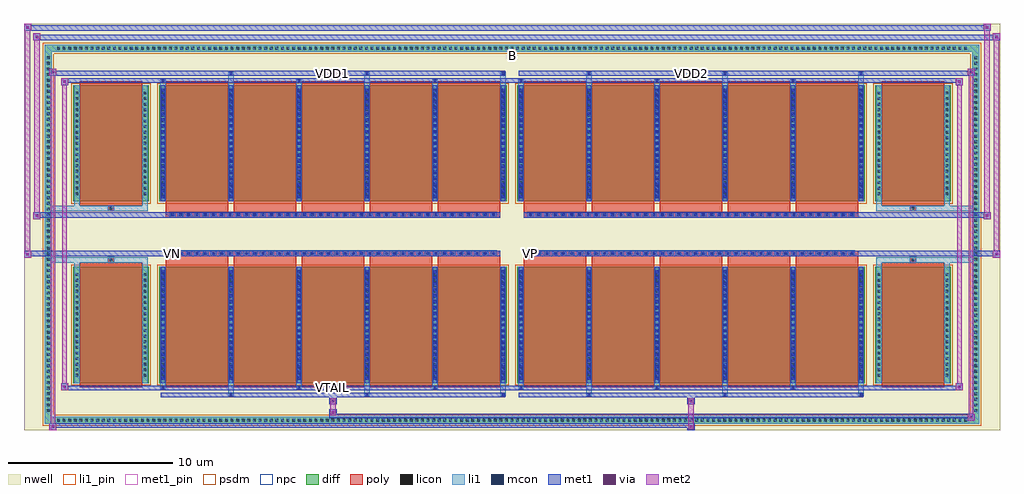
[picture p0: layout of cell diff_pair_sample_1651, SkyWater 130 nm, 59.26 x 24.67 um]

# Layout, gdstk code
import gdstk
lib = gdstk.Library(unit=1e-6, precision=5e-09)
def R(c, l, rs):  # rectangles x0, y0, x1, y1
    for r in rs: c.add(gdstk.rectangle(r[:2], r[2:], *l))
def A(c, l, x, y, w, h, nx, ny, dx, dy):  # array of equal rectangles
    R(c, l, [(x+i*dx, y+j*dy, x+i*dx+w, y+j*dy+h) for i in range(nx) for j in range(ny)])
def P(c, l, *ps):  # polygons
    for p in ps: c.add(gdstk.Polygon(p, *l))
nwell = (64, 20)
diff = (65, 20)
poly = (66, 20)
licon = (66, 44)
li1_pin = (67, 16)
li1 = (67, 20)
mcon = (67, 44)
met1_pin = (68, 16)
met1 = (68, 20)
via = (68, 44)
met2 = (69, 20)
psdm = (94, 20)
npc = (95, 20)

diff_pair_sample_1651 = lib.new_cell('diff_pair_sample_1651')
R(diff_pair_sample_1651, nwell, [(-29.63,-11.9,29.63,12.77), (-26.95,-10.09,-0.01,-0.805), (0.01,-10.09,26.95,-0.805), (-26.95,0.805,-0.01,10.09), (0.01,0.805,26.95,10.09)])
A(diff_pair_sample_1651, diff, -27.745, -11.5, 0.41, 0.41, 163, 2, 0.34, 22.59)
A(diff_pair_sample_1651, diff, -28.36, -10.915, 0.41, 0.41, 1, 64, 0, 0.34)
A(diff_pair_sample_1651, diff, 27.95, -10.915, 0.41, 0.41, 1, 64, 0, 0.34)
R(diff_pair_sample_1651, diff, [(-27.745,-11.5,27.745,-11.09), (-28.36,-10.915,-27.95,10.915), (27.95,-10.915,28.36,10.915), (-26.64,-9.045,-22.06,-1.985), (-21.42,-9.045,-0.32,-1.985), (0.32,-9.045,21.42,-1.985), (22.06,-9.045,26.64,-1.985), (-26.64,1.985,-22.06,9.045), (-21.42,1.985,-0.32,9.045), (0.32,1.985,21.42,9.045), (22.06,1.985,26.64,9.045), (-27.745,11.09,27.745,11.5)])
P(diff_pair_sample_1651, diff, [(28.36,11.5),(-28.36,11.5),(-28.36,-11.09),(-27.95,-11.09),(-27.95,11.09),(27.95,11.09),(27.95,-11.09),(-27.95,-11.09),(-28.36,-11.09),(-28.36,-11.5),(28.36,-11.5)])
A(diff_pair_sample_1651, poly, -21.03, -9.295, 3.8, 7.56, 5, 2, 4.13, 11.03)
A(diff_pair_sample_1651, poly, 0.71, -9.295, 3.8, 7.56, 5, 2, 4.13, 11.03)
A(diff_pair_sample_1651, poly, -21.03, -1.735, 3.8, 0.4, 5, 2, 4.13, 3.07)
A(diff_pair_sample_1651, poly, 0.71, -1.735, 3.8, 0.4, 5, 2, 4.13, 3.07)
A(diff_pair_sample_1651, poly, -20.785, -1.335, 0.33, 0.33, 40, 2, 0.5, 2.34)
A(diff_pair_sample_1651, poly, 0.955, -1.335, 0.33, 0.33, 40, 2, 0.5, 2.34)
R(diff_pair_sample_1651, poly, [(-26.25,-9.295,-22.45,-1.735), (22.45,-9.295,26.25,-1.735), (-24.515,-1.735,-24.185,-1.405), (-24.515,-1.735,-24.185,-1.405), (24.185,-1.735,24.515,-1.405), (24.185,-1.735,24.515,-1.405), (-21.03,-1.335,-0.71,-1.005), (0.71,-1.335,21.03,-1.005), (-21.03,1.005,-0.71,1.335), (0.71,1.005,21.03,1.335), (-24.515,1.405,-24.185,1.735), (-24.515,1.405,-24.185,1.735), (24.185,1.405,24.515,1.735), (24.185,1.405,24.515,1.735), (-26.25,1.735,-22.45,9.295), (22.45,1.735,26.25,9.295)])
A(diff_pair_sample_1651, licon, -27.625, -11.38, 0.17, 0.17, 163, 2, 0.34, 22.59)
A(diff_pair_sample_1651, licon, -28.24, -10.795, 0.17, 0.17, 1, 64, 0, 0.34)
A(diff_pair_sample_1651, licon, 28.07, -10.795, 0.17, 0.17, 1, 64, 0, 0.34)
A(diff_pair_sample_1651, licon, -26.5, -8.66, 0.17, 0.17, 1, 19, 0, 0.34)
A(diff_pair_sample_1651, licon, -22.37, -8.66, 0.17, 0.17, 1, 19, 0, 0.34)
A(diff_pair_sample_1651, licon, -21.28, -8.66, 0.17, 0.17, 6, 19, 4.13, 0.34)
A(diff_pair_sample_1651, licon, 0.46, -8.66, 0.17, 0.17, 6, 19, 4.13, 0.34)
A(diff_pair_sample_1651, licon, 22.2, -8.66, 0.17, 0.17, 1, 19, 0, 0.34)
A(diff_pair_sample_1651, licon, 26.33, -8.66, 0.17, 0.17, 1, 19, 0, 0.34)
A(diff_pair_sample_1651, licon, -20.705, -1.255, 0.17, 0.17, 40, 2, 0.5, 2.34)
A(diff_pair_sample_1651, licon, 1.035, -1.255, 0.17, 0.17, 40, 2, 0.5, 2.34)
A(diff_pair_sample_1651, licon, -26.5, 2.37, 0.17, 0.17, 1, 19, 0, 0.34)
A(diff_pair_sample_1651, licon, -22.37, 2.37, 0.17, 0.17, 1, 19, 0, 0.34)
A(diff_pair_sample_1651, licon, -21.28, 2.37, 0.17, 0.17, 6, 19, 4.13, 0.34)
A(diff_pair_sample_1651, licon, 0.46, 2.37, 0.17, 0.17, 6, 19, 4.13, 0.34)
A(diff_pair_sample_1651, licon, 22.2, 2.37, 0.17, 0.17, 1, 19, 0, 0.34)
A(diff_pair_sample_1651, licon, 26.33, 2.37, 0.17, 0.17, 1, 19, 0, 0.34)
R(diff_pair_sample_1651, licon, [(-24.435,-1.655,-24.265,-1.485), (24.265,-1.655,24.435,-1.485), (-24.435,1.485,-24.265,1.655), (24.265,1.485,24.435,1.655)])
R(diff_pair_sample_1651, li1_pin, [(-0.25,10.59,0.25,11.09)])
A(diff_pair_sample_1651, li1, -27.705, -11.46, 0.33, 0.33, 163, 2, 0.34, 22.59)
A(diff_pair_sample_1651, li1, -28.32, -10.875, 0.33, 0.33, 1, 64, 0, 0.34)
A(diff_pair_sample_1651, li1, 27.99, -10.875, 0.33, 0.33, 1, 64, 0, 0.34)
A(diff_pair_sample_1651, li1, -17.23, -9.85, 0.33, 0.805, 3, 2, 8.26, 18.895)
A(diff_pair_sample_1651, li1, -17.15, -9.85, 0.17, 0.17, 3, 2, 8.26, 19.53)
A(diff_pair_sample_1651, li1, 4.51, -9.85, 0.33, 0.805, 3, 2, 8.26, 18.895)
A(diff_pair_sample_1651, li1, 4.59, -9.85, 0.17, 0.17, 3, 2, 8.26, 19.53)
A(diff_pair_sample_1651, li1, -21.36, -9.42, 0.33, 0.375, 3, 2, 8.26, 18.465)
A(diff_pair_sample_1651, li1, -21.28, -9.42, 0.17, 0.17, 3, 2, 8.26, 18.67)
A(diff_pair_sample_1651, li1, 0.38, -9.42, 0.33, 0.375, 3, 2, 8.26, 18.465)
A(diff_pair_sample_1651, li1, 0.46, -9.42, 0.17, 0.17, 3, 2, 8.26, 18.67)
A(diff_pair_sample_1651, li1, -21.36, -9.045, 0.33, 7.06, 6, 2, 4.13, 11.03)
A(diff_pair_sample_1651, li1, 0.38, -9.045, 0.33, 7.06, 6, 2, 4.13, 11.03)
A(diff_pair_sample_1651, li1, -21.28, -8.84, 0.17, 0.17, 6, 19, 4.13, 0.36)
A(diff_pair_sample_1651, li1, -21.28, -8.84, 0.17, 6.65, 6, 2, 4.13, 11.03)
A(diff_pair_sample_1651, li1, 0.46, -8.84, 0.17, 0.17, 6, 19, 4.13, 0.36)
A(diff_pair_sample_1651, li1, 0.46, -8.84, 0.17, 6.65, 6, 2, 4.13, 11.03)
A(diff_pair_sample_1651, li1, -26.58, -8.74, 0.33, 0.33, 1, 19, 0, 0.34)
A(diff_pair_sample_1651, li1, -22.45, -8.74, 0.33, 0.33, 1, 19, 0, 0.34)
A(diff_pair_sample_1651, li1, -21.36, -8.74, 0.33, 0.33, 6, 19, 4.13, 0.34)
A(diff_pair_sample_1651, li1, 0.38, -8.74, 0.33, 0.33, 6, 19, 4.13, 0.34)
A(diff_pair_sample_1651, li1, 22.12, -8.74, 0.33, 0.33, 1, 19, 0, 0.34)
A(diff_pair_sample_1651, li1, 26.25, -8.74, 0.33, 0.33, 1, 19, 0, 0.34)
A(diff_pair_sample_1651, li1, -20.785, -1.335, 0.33, 0.33, 40, 2, 0.5, 2.34)
A(diff_pair_sample_1651, li1, 0.955, -1.335, 0.33, 0.33, 40, 2, 0.5, 2.34)
A(diff_pair_sample_1651, li1, -21.28, 2.19, 0.17, 0.17, 6, 19, 4.13, 0.36)
A(diff_pair_sample_1651, li1, 0.46, 2.19, 0.17, 0.17, 6, 19, 4.13, 0.36)
A(diff_pair_sample_1651, li1, -26.58, 2.29, 0.33, 0.33, 1, 19, 0, 0.34)
A(diff_pair_sample_1651, li1, -22.45, 2.29, 0.33, 0.33, 1, 19, 0, 0.34)
A(diff_pair_sample_1651, li1, -21.36, 2.29, 0.33, 0.33, 6, 19, 4.13, 0.34)
A(diff_pair_sample_1651, li1, 0.38, 2.29, 0.33, 0.33, 6, 19, 4.13, 0.34)
A(diff_pair_sample_1651, li1, 22.12, 2.29, 0.33, 0.33, 1, 19, 0, 0.34)
A(diff_pair_sample_1651, li1, 26.25, 2.29, 0.33, 0.33, 1, 19, 0, 0.34)
R(diff_pair_sample_1651, li1, [(-28.36,-11.5,-27.95,-11.09), (-28.36,-11.5,-27.95,-11.09), (-27.95,-11.5,27.95,-11.09), (27.95,-11.5,28.36,-11.09), (27.95,-11.5,28.36,-11.09), (-28.36,-11.09,-27.95,11.09), (27.95,-11.09,28.36,11.09), (-26.58,-9.045,-26.25,-1.985), (-22.45,-9.045,-22.12,-1.985), (22.12,-9.045,22.45,-1.985), (26.25,-9.045,26.58,-1.985), (-26.58,-1.985,-26.25,-1.405), (-22.45,-1.985,-22.12,-1.405), (22.12,-1.985,22.45,-1.405), (26.25,-1.985,26.58,-1.405), (-28.36,-1.735,-24.515,-1.405), (-26.58,-1.735,-24.515,-1.405), (-24.515,-1.735,-24.185,-1.405), (-24.185,-1.735,-22.12,-1.405), (22.12,-1.735,24.185,-1.405), (24.185,-1.735,24.515,-1.405), (24.185,-1.735,28.36,-1.405), (24.515,-1.735,26.58,-1.405), (-28.36,1.405,-24.515,1.735), (-26.58,1.405,-24.515,1.735), (-26.58,1.405,-26.25,1.985), (-24.515,1.405,-24.185,1.735), (-24.185,1.405,-22.12,1.735), (-22.45,1.405,-22.12,1.985), (22.12,1.405,24.185,1.735), (22.12,1.405,22.45,1.985), (24.185,1.405,24.515,1.735), (24.185,1.405,28.36,1.735), (24.515,1.405,26.58,1.735), (26.25,1.405,26.58,1.985), (-26.58,1.985,-26.25,9.045), (-22.45,1.985,-22.12,9.045), (22.12,1.985,22.45,9.045), (26.25,1.985,26.58,9.045), (-28.36,11.09,-27.95,11.5), (-28.36,11.09,-27.95,11.5), (-27.95,11.09,27.95,11.5), (27.95,11.09,28.36,11.5), (27.95,11.09,28.36,11.5)])
A(diff_pair_sample_1651, mcon, -17.15, -9.85, 0.17, 0.17, 3, 2, 8.26, 19.53)
A(diff_pair_sample_1651, mcon, 4.59, -9.85, 0.17, 0.17, 3, 2, 8.26, 19.53)
A(diff_pair_sample_1651, mcon, -21.28, -9.42, 0.17, 0.17, 3, 2, 8.26, 18.67)
A(diff_pair_sample_1651, mcon, 0.46, -9.42, 0.17, 0.17, 3, 2, 8.26, 18.67)
A(diff_pair_sample_1651, mcon, -21.28, -8.84, 0.17, 0.17, 6, 19, 4.13, 0.36)
A(diff_pair_sample_1651, mcon, 0.46, -8.84, 0.17, 0.17, 6, 19, 4.13, 0.36)
A(diff_pair_sample_1651, mcon, -20.705, -1.255, 0.17, 0.17, 40, 2, 0.5, 2.34)
A(diff_pair_sample_1651, mcon, 1.035, -1.255, 0.17, 0.17, 40, 2, 0.5, 2.34)
A(diff_pair_sample_1651, mcon, -21.28, 2.19, 0.17, 0.17, 6, 19, 4.13, 0.36)
A(diff_pair_sample_1651, mcon, 0.46, 2.19, 0.17, 0.17, 6, 19, 4.13, 0.36)
R(diff_pair_sample_1651, met1_pin, [(-11.005,-9.46,-10.735,-9.19), (-20.755,-1.295,-20.485,-1.025), (0.985,-1.295,1.255,-1.025), (-11.005,9.64,-10.735,9.91), (10.735,9.64,11.005,9.91)])
A(diff_pair_sample_1651, met1, -17.21, -9.91, 0.29, 0.29, 3, 2, 8.26, 19.53)
A(diff_pair_sample_1651, met1, 4.53, -9.91, 0.29, 0.29, 3, 2, 8.26, 19.53)
A(diff_pair_sample_1651, met1, -21.34, -9.48, 0.29, 0.29, 3, 2, 8.26, 18.67)
A(diff_pair_sample_1651, met1, 0.4, -9.48, 0.29, 0.29, 3, 2, 8.26, 18.67)
A(diff_pair_sample_1651, met1, -21.34, -9.045, 0.29, 7.06, 6, 2, 4.13, 11.03)
A(diff_pair_sample_1651, met1, 0.4, -9.045, 0.29, 7.06, 6, 2, 4.13, 11.03)
A(diff_pair_sample_1651, met1, -21.34, -8.9, 0.29, 0.29, 6, 19, 4.13, 0.36)
A(diff_pair_sample_1651, met1, 0.4, -8.9, 0.29, 0.29, 6, 19, 4.13, 0.36)
A(diff_pair_sample_1651, met1, -20.765, -1.315, 0.29, 0.29, 40, 2, 0.5, 2.34)
A(diff_pair_sample_1651, met1, 0.975, -1.315, 0.29, 0.29, 40, 2, 0.5, 2.34)
A(diff_pair_sample_1651, met1, -21.34, 2.13, 0.29, 0.29, 6, 19, 4.13, 0.36)
A(diff_pair_sample_1651, met1, 0.4, 2.13, 0.29, 0.29, 6, 19, 4.13, 0.36)
R(diff_pair_sample_1651, met1, [(-28.09,-11.9,-27.66,-11.47), (10.655,-11.9,11.085,-11.47), (-28.09,-11.76,11.085,-11.47), (27.66,-11.33,28.09,-10.9), (-11.085,-11.19,28.09,-10.9), (-11.085,-11.05,-10.655,-10.62), (-11.085,-10.34,-10.655,-9.91), (10.655,-10.34,11.085,-9.91), (-21.34,-9.91,-0.4,-9.62), (0.4,-9.91,21.34,-9.62), (-27.38,-9.48,-26.95,-9.05), (-27.38,-9.48,-21.34,-9.19), (-21.34,-9.48,-0.4,-9.19), (-0.4,-9.48,0.4,-9.19), (0.4,-9.48,21.34,-9.19), (21.34,-9.48,27.38,-9.19), (26.95,-9.48,27.38,-9.05), (-29.63,-1.435,-29.2,-1.005), (29.2,-1.435,29.63,-1.005), (-29.63,-1.335,-0.71,-1.005), (-21.03,-1.335,-0.71,-1.005), (0.71,-1.335,21.03,-1.005), (0.71,-1.335,29.63,-1.005), (-29.06,0.905,-28.63,1.335), (28.63,0.905,29.06,1.335), (-29.06,1.005,-21.03,1.335), (-21.03,1.005,-0.71,1.335), (0.71,1.005,21.03,1.335), (21.03,1.005,29.06,1.335), (-27.38,9.05,-26.95,9.48), (26.95,9.05,27.38,9.48), (-27.38,9.19,-21.34,9.48), (-21.34,9.19,-0.4,9.48), (-0.4,9.19,0.4,9.48), (0.4,9.19,21.34,9.48), (21.34,9.19,27.38,9.48), (-28.09,9.62,-27.66,10.05), (-28.09,9.62,-21.34,9.91), (-21.34,9.62,-0.4,9.91), (0.4,9.62,21.34,9.91), (21.34,9.62,28.09,9.91), (27.66,9.62,28.09,10.05), (-29.06,11.77,-28.63,12.2), (-29.06,11.77,-26.95,12.1), (-26.95,11.77,26.95,12.1), (26.95,11.77,29.63,12.1), (29.2,11.77,29.63,12.2), (-29.63,12.34,-29.2,12.77), (-29.63,12.34,-26.95,12.67), (-26.95,12.34,26.95,12.67), (26.95,12.34,29.06,12.67), (28.63,12.34,29.06,12.77)])
R(diff_pair_sample_1651, via, [(-27.95,-11.76,-27.8,-11.61), (10.795,-11.76,10.945,-11.61), (27.8,-11.19,27.95,-11.04), (-10.945,-10.91,-10.795,-10.76), (-10.945,-10.2,-10.795,-10.05), (10.795,-10.2,10.945,-10.05), (-27.24,-9.34,-27.09,-9.19), (27.09,-9.34,27.24,-9.19), (-29.49,-1.295,-29.34,-1.145), (29.34,-1.295,29.49,-1.145), (-28.92,1.045,-28.77,1.195), (28.77,1.045,28.92,1.195), (-27.24,9.19,-27.09,9.34), (27.09,9.19,27.24,9.34), (-27.95,9.76,-27.8,9.91), (27.8,9.76,27.95,9.91), (-28.92,11.91,-28.77,12.06), (29.34,11.91,29.49,12.06), (-29.49,12.48,-29.34,12.63), (28.77,12.48,28.92,12.63)])
R(diff_pair_sample_1651, met2, [(-28.09,-11.9,-27.66,-11.47), (-28.02,-11.9,-27.73,10.05), (-27.73,-11.9,-27.66,-11.47), (-28.04,-11.85,-27.71,-11.52), (10.705,-11.85,11.035,-11.52), (10.705,-11.52,11.035,-10.29), (27.66,-11.33,28.09,-10.9), (27.73,-11.33,28.02,10.05), (28.02,-11.33,28.09,-10.9), (27.71,-11.28,28.04,-10.95), (-11.035,-11,-10.705,-10.67), (-11.035,-10.67,-10.705,-10.29), (-11.035,-10.29,-10.705,-9.96), (10.705,-10.29,11.035,-9.96), (-27.38,-9.48,-26.95,-9.05), (-27.31,-9.48,-27.02,9.48), (-27.02,-9.48,-26.95,-9.05), (26.95,-9.48,27.38,-9.05), (27.02,-9.48,27.31,9.48), (27.31,-9.48,27.38,-9.05), (-27.33,-9.43,-27,-9.1), (27,-9.43,27.33,-9.1), (-29.63,-1.435,-29.2,-1.005), (-29.58,-1.435,-29.25,12.77), (-29.25,-1.435,-29.2,-1.005), (29.2,-1.435,29.63,-1.005), (29.25,-1.435,29.58,12.2), (29.58,-1.435,29.63,-1.005), (-29.58,-1.385,-29.25,-1.055), (29.25,-1.385,29.58,-1.055), (-29.06,0.905,-28.63,1.335), (-29.01,0.905,-28.68,12.2), (-28.68,0.905,-28.63,1.335), (28.63,0.905,29.06,1.335), (28.68,0.905,29.01,12.77), (29.01,0.905,29.06,1.335), (-29.01,0.955,-28.68,1.285), (28.68,0.955,29.01,1.285), (-27.38,9.05,-26.95,9.48), (-27.02,9.05,-26.95,9.48), (26.95,9.05,27.38,9.48), (27.31,9.05,27.38,9.48), (-27.33,9.1,-27,9.43), (27,9.1,27.33,9.43), (-28.09,9.62,-27.66,10.05), (-27.73,9.62,-27.66,10.05), (27.66,9.62,28.09,10.05), (28.02,9.62,28.09,10.05), (-28.04,9.67,-27.71,10), (27.71,9.67,28.04,10), (-29.06,11.77,-28.63,12.2), (-28.68,11.77,-28.63,12.2), (29.2,11.77,29.63,12.2), (29.58,11.77,29.63,12.2), (-29.01,11.82,-28.68,12.15), (29.25,11.82,29.58,12.15), (-29.63,12.34,-29.2,12.77), (-29.25,12.34,-29.2,12.77), (28.63,12.34,29.06,12.77), (29.01,12.34,29.06,12.77), (-29.58,12.39,-29.25,12.72), (28.68,12.39,29.01,12.72)])
R(diff_pair_sample_1651, psdm, [(-26.77,-9.175,-21.93,-1.855), (-21.55,-9.175,-0.19,-1.855), (0.19,-9.175,21.55,-1.855), (21.93,-9.175,26.77,-1.855), (-26.77,1.855,-21.93,9.175), (-21.55,1.855,-0.19,9.175), (0.19,1.855,21.55,9.175), (21.93,1.855,26.77,9.175)])
P(diff_pair_sample_1651, psdm, [(28.49,11.63),(-28.49,11.63),(-28.49,-10.96),(-27.82,-10.96),(-27.82,10.96),(27.82,10.96),(27.82,-10.96),(-27.82,-10.96),(-28.49,-10.96),(-28.49,-11.63),(28.49,-11.63)])
A(diff_pair_sample_1651, npc, -20.805, -1.355, 0.37, 0.37, 40, 2, 0.5, 2.34)
A(diff_pair_sample_1651, npc, 0.935, -1.355, 0.37, 0.37, 40, 2, 0.5, 2.34)
R(diff_pair_sample_1651, npc, [(-24.535,-1.755,-24.165,-1.385), (24.165,-1.755,24.535,-1.385), (-20.805,-1.355,-19.935,-0.985), (-20.805,-1.355,-19.935,-0.985), (-20.305,-1.355,-19.435,-0.985), (-20.305,-1.355,-19.435,-0.985), (-19.805,-1.355,-18.935,-0.985), (-19.805,-1.355,-18.935,-0.985), (-19.305,-1.355,-18.435,-0.985), (-19.305,-1.355,-18.435,-0.985), (-18.805,-1.355,-17.935,-0.985), (-18.805,-1.355,-17.935,-0.985), (-18.305,-1.355,-17.435,-0.985), (-18.305,-1.355,-17.435,-0.985), (-17.805,-1.355,-16.935,-0.985), (-17.805,-1.355,-16.935,-0.985), (-17.305,-1.355,-16.435,-0.985), (-17.305,-1.355,-16.435,-0.985), (-16.805,-1.355,-15.935,-0.985), (-16.805,-1.355,-15.935,-0.985), (-16.305,-1.355,-15.435,-0.985), (-16.305,-1.355,-15.435,-0.985), (-15.805,-1.355,-14.935,-0.985), (-15.805,-1.355,-14.935,-0.985), (-15.305,-1.355,-14.435,-0.985), (-15.305,-1.355,-14.435,-0.985), (-14.805,-1.355,-13.935,-0.985), (-14.805,-1.355,-13.935,-0.985), (-14.305,-1.355,-13.435,-0.985), (-14.305,-1.355,-13.435,-0.985), (-13.805,-1.355,-12.935,-0.985), (-13.805,-1.355,-12.935,-0.985), (-13.305,-1.355,-12.435,-0.985), (-13.305,-1.355,-12.435,-0.985), (-12.805,-1.355,-11.935,-0.985), (-12.805,-1.355,-11.935,-0.985), (-12.305,-1.355,-11.435,-0.985), (-12.305,-1.355,-11.435,-0.985), (-11.805,-1.355,-10.935,-0.985), (-11.805,-1.355,-10.935,-0.985), (-11.305,-1.355,-10.435,-0.985), (-11.305,-1.355,-10.435,-0.985), (-10.805,-1.355,-9.935,-0.985), (-10.805,-1.355,-9.935,-0.985), (-10.305,-1.355,-9.435,-0.985), (-10.305,-1.355,-9.435,-0.985), (-9.805,-1.355,-8.935,-0.985), (-9.805,-1.355,-8.935,-0.985), (-9.305,-1.355,-8.435,-0.985), (-9.305,-1.355,-8.435,-0.985), (-8.805,-1.355,-7.935,-0.985), (-8.805,-1.355,-7.935,-0.985), (-8.305,-1.355,-7.435,-0.985), (-8.305,-1.355,-7.435,-0.985), (-7.805,-1.355,-6.935,-0.985), (-7.805,-1.355,-6.935,-0.985), (-7.305,-1.355,-6.435,-0.985), (-7.305,-1.355,-6.435,-0.985), (-6.805,-1.355,-5.935,-0.985), (-6.805,-1.355,-5.935,-0.985), (-6.305,-1.355,-5.435,-0.985), (-6.305,-1.355,-5.435,-0.985), (-5.805,-1.355,-4.935,-0.985), (-5.805,-1.355,-4.935,-0.985), (-5.305,-1.355,-4.435,-0.985), (-5.305,-1.355,-4.435,-0.985), (-4.805,-1.355,-3.935,-0.985), (-4.805,-1.355,-3.935,-0.985), (-4.305,-1.355,-3.435,-0.985), (-4.305,-1.355,-3.435,-0.985), (-3.805,-1.355,-2.935,-0.985), (-3.805,-1.355,-2.935,-0.985), (-3.305,-1.355,-2.435,-0.985), (-3.305,-1.355,-2.435,-0.985), (-2.805,-1.355,-1.935,-0.985), (-2.805,-1.355,-1.935,-0.985), (-2.305,-1.355,-1.435,-0.985), (-2.305,-1.355,-1.435,-0.985), (-1.805,-1.355,-0.935,-0.985), (-1.805,-1.355,-0.935,-0.985), (0.935,-1.355,1.805,-0.985), (0.935,-1.355,1.805,-0.985), (1.435,-1.355,2.305,-0.985), (1.435,-1.355,2.305,-0.985), (1.935,-1.355,2.805,-0.985), (1.935,-1.355,2.805,-0.985), (2.435,-1.355,3.305,-0.985), (2.435,-1.355,3.305,-0.985), (2.935,-1.355,3.805,-0.985), (2.935,-1.355,3.805,-0.985), (3.435,-1.355,4.305,-0.985), (3.435,-1.355,4.305,-0.985), (3.935,-1.355,4.805,-0.985), (3.935,-1.355,4.805,-0.985), (4.435,-1.355,5.305,-0.985), (4.435,-1.355,5.305,-0.985), (4.935,-1.355,5.805,-0.985), (4.935,-1.355,5.805,-0.985), (5.435,-1.355,6.305,-0.985), (5.435,-1.355,6.305,-0.985), (5.935,-1.355,6.805,-0.985), (5.935,-1.355,6.805,-0.985), (6.435,-1.355,7.305,-0.985), (6.435,-1.355,7.305,-0.985), (6.935,-1.355,7.805,-0.985), (6.935,-1.355,7.805,-0.985), (7.435,-1.355,8.305,-0.985), (7.435,-1.355,8.305,-0.985), (7.935,-1.355,8.805,-0.985), (7.935,-1.355,8.805,-0.985), (8.435,-1.355,9.305,-0.985), (8.435,-1.355,9.305,-0.985), (8.935,-1.355,9.805,-0.985), (8.935,-1.355,9.805,-0.985), (9.435,-1.355,10.305,-0.985), (9.435,-1.355,10.305,-0.985), (9.935,-1.355,10.805,-0.985), (9.935,-1.355,10.805,-0.985), (10.435,-1.355,11.305,-0.985), (10.435,-1.355,11.305,-0.985), (10.935,-1.355,11.805,-0.985), (10.935,-1.355,11.805,-0.985), (11.435,-1.355,12.305,-0.985), (11.435,-1.355,12.305,-0.985), (11.935,-1.355,12.805,-0.985), (11.935,-1.355,12.805,-0.985), (12.435,-1.355,13.305,-0.985), (12.435,-1.355,13.305,-0.985), (12.935,-1.355,13.805,-0.985), (12.935,-1.355,13.805,-0.985), (13.435,-1.355,14.305,-0.985), (13.435,-1.355,14.305,-0.985), (13.935,-1.355,14.805,-0.985), (13.935,-1.355,14.805,-0.985), (14.435,-1.355,15.305,-0.985), (14.435,-1.355,15.305,-0.985), (14.935,-1.355,15.805,-0.985), (14.935,-1.355,15.805,-0.985), (15.435,-1.355,16.305,-0.985), (15.435,-1.355,16.305,-0.985), (15.935,-1.355,16.805,-0.985), (15.935,-1.355,16.805,-0.985), (16.435,-1.355,17.305,-0.985), (16.435,-1.355,17.305,-0.985), (16.935,-1.355,17.805,-0.985), (16.935,-1.355,17.805,-0.985), (17.435,-1.355,18.305,-0.985), (17.435,-1.355,18.305,-0.985), (17.935,-1.355,18.805,-0.985), (17.935,-1.355,18.805,-0.985), (18.435,-1.355,19.305,-0.985), (18.435,-1.355,19.305,-0.985), (18.935,-1.355,19.805,-0.985), (18.935,-1.355,19.805,-0.985), (19.435,-1.355,20.305,-0.985), (19.435,-1.355,20.305,-0.985), (19.935,-1.355,20.805,-0.985), (19.935,-1.355,20.805,-0.985), (-20.805,0.985,-19.935,1.355), (-20.805,0.985,-19.935,1.355), (-20.305,0.985,-19.435,1.355), (-20.305,0.985,-19.435,1.355), (-19.805,0.985,-18.935,1.355), (-19.805,0.985,-18.935,1.355), (-19.305,0.985,-18.435,1.355), (-19.305,0.985,-18.435,1.355), (-18.805,0.985,-17.935,1.355), (-18.805,0.985,-17.935,1.355), (-18.305,0.985,-17.435,1.355), (-18.305,0.985,-17.435,1.355), (-17.805,0.985,-16.935,1.355), (-17.805,0.985,-16.935,1.355), (-17.305,0.985,-16.435,1.355), (-17.305,0.985,-16.435,1.355), (-16.805,0.985,-15.935,1.355), (-16.805,0.985,-15.935,1.355), (-16.305,0.985,-15.435,1.355), (-16.305,0.985,-15.435,1.355), (-15.805,0.985,-14.935,1.355), (-15.805,0.985,-14.935,1.355), (-15.305,0.985,-14.435,1.355), (-15.305,0.985,-14.435,1.355), (-14.805,0.985,-13.935,1.355), (-14.805,0.985,-13.935,1.355), (-14.305,0.985,-13.435,1.355), (-14.305,0.985,-13.435,1.355), (-13.805,0.985,-12.935,1.355), (-13.805,0.985,-12.935,1.355), (-13.305,0.985,-12.435,1.355), (-13.305,0.985,-12.435,1.355), (-12.805,0.985,-11.935,1.355), (-12.805,0.985,-11.935,1.355), (-12.305,0.985,-11.435,1.355), (-12.305,0.985,-11.435,1.355), (-11.805,0.985,-10.935,1.355), (-11.805,0.985,-10.935,1.355), (-11.305,0.985,-10.435,1.355), (-11.305,0.985,-10.435,1.355), (-10.805,0.985,-9.935,1.355), (-10.805,0.985,-9.935,1.355), (-10.305,0.985,-9.435,1.355), (-10.305,0.985,-9.435,1.355), (-9.805,0.985,-8.935,1.355), (-9.805,0.985,-8.935,1.355), (-9.305,0.985,-8.435,1.355), (-9.305,0.985,-8.435,1.355), (-8.805,0.985,-7.935,1.355), (-8.805,0.985,-7.935,1.355), (-8.305,0.985,-7.435,1.355), (-8.305,0.985,-7.435,1.355), (-7.805,0.985,-6.935,1.355), (-7.805,0.985,-6.935,1.355), (-7.305,0.985,-6.435,1.355), (-7.305,0.985,-6.435,1.355), (-6.805,0.985,-5.935,1.355), (-6.805,0.985,-5.935,1.355), (-6.305,0.985,-5.435,1.355), (-6.305,0.985,-5.435,1.355), (-5.805,0.985,-4.935,1.355), (-5.805,0.985,-4.935,1.355), (-5.305,0.985,-4.435,1.355), (-5.305,0.985,-4.435,1.355), (-4.805,0.985,-3.935,1.355), (-4.805,0.985,-3.935,1.355), (-4.305,0.985,-3.435,1.355), (-4.305,0.985,-3.435,1.355), (-3.805,0.985,-2.935,1.355), (-3.805,0.985,-2.935,1.355), (-3.305,0.985,-2.435,1.355), (-3.305,0.985,-2.435,1.355), (-2.805,0.985,-1.935,1.355), (-2.805,0.985,-1.935,1.355), (-2.305,0.985,-1.435,1.355), (-2.305,0.985,-1.435,1.355), (-1.805,0.985,-0.935,1.355), (-1.805,0.985,-0.935,1.355), (0.935,0.985,1.805,1.355), (0.935,0.985,1.805,1.355), (1.435,0.985,2.305,1.355), (1.435,0.985,2.305,1.355), (1.935,0.985,2.805,1.355), (1.935,0.985,2.805,1.355), (2.435,0.985,3.305,1.355), (2.435,0.985,3.305,1.355), (2.935,0.985,3.805,1.355), (2.935,0.985,3.805,1.355), (3.435,0.985,4.305,1.355), (3.435,0.985,4.305,1.355), (3.935,0.985,4.805,1.355), (3.935,0.985,4.805,1.355), (4.435,0.985,5.305,1.355), (4.435,0.985,5.305,1.355), (4.935,0.985,5.805,1.355), (4.935,0.985,5.805,1.355), (5.435,0.985,6.305,1.355), (5.435,0.985,6.305,1.355), (5.935,0.985,6.805,1.355), (5.935,0.985,6.805,1.355), (6.435,0.985,7.305,1.355), (6.435,0.985,7.305,1.355), (6.935,0.985,7.805,1.355), (6.935,0.985,7.805,1.355), (7.435,0.985,8.305,1.355), (7.435,0.985,8.305,1.355), (7.935,0.985,8.805,1.355), (7.935,0.985,8.805,1.355), (8.435,0.985,9.305,1.355), (8.435,0.985,9.305,1.355), (8.935,0.985,9.805,1.355), (8.935,0.985,9.805,1.355), (9.435,0.985,10.305,1.355), (9.435,0.985,10.305,1.355), (9.935,0.985,10.805,1.355), (9.935,0.985,10.805,1.355), (10.435,0.985,11.305,1.355), (10.435,0.985,11.305,1.355), (10.935,0.985,11.805,1.355), (10.935,0.985,11.805,1.355), (11.435,0.985,12.305,1.355), (11.435,0.985,12.305,1.355), (11.935,0.985,12.805,1.355), (11.935,0.985,12.805,1.355), (12.435,0.985,13.305,1.355), (12.435,0.985,13.305,1.355), (12.935,0.985,13.805,1.355), (12.935,0.985,13.805,1.355), (13.435,0.985,14.305,1.355), (13.435,0.985,14.305,1.355), (13.935,0.985,14.805,1.355), (13.935,0.985,14.805,1.355), (14.435,0.985,15.305,1.355), (14.435,0.985,15.305,1.355), (14.935,0.985,15.805,1.355), (14.935,0.985,15.805,1.355), (15.435,0.985,16.305,1.355), (15.435,0.985,16.305,1.355), (15.935,0.985,16.805,1.355), (15.935,0.985,16.805,1.355), (16.435,0.985,17.305,1.355), (16.435,0.985,17.305,1.355), (16.935,0.985,17.805,1.355), (16.935,0.985,17.805,1.355), (17.435,0.985,18.305,1.355), (17.435,0.985,18.305,1.355), (17.935,0.985,18.805,1.355), (17.935,0.985,18.805,1.355), (18.435,0.985,19.305,1.355), (18.435,0.985,19.305,1.355), (18.935,0.985,19.805,1.355), (18.935,0.985,19.805,1.355), (19.435,0.985,20.305,1.355), (19.435,0.985,20.305,1.355), (19.935,0.985,20.805,1.355), (19.935,0.985,20.805,1.355), (-24.535,1.385,-24.165,1.755), (24.165,1.385,24.535,1.755)])
diff_pair_sample_1651.add(gdstk.Label('VTAIL', (-10.87,-9.325), layer=68, texttype=5))
diff_pair_sample_1651.add(gdstk.Label('VN', (-20.62,-1.16), layer=68, texttype=5))
diff_pair_sample_1651.add(gdstk.Label('VP', (1.12,-1.16), layer=68, texttype=5))
diff_pair_sample_1651.add(gdstk.Label('B', (0,10.84), layer=67, texttype=5))
diff_pair_sample_1651.add(gdstk.Label('VDD2', (10.87,9.775), layer=68, texttype=5))
diff_pair_sample_1651.add(gdstk.Label('VDD1', (-10.87,9.775), layer=68, texttype=5))

lib.write_gds('diff_pair_sample_1651.gds')
